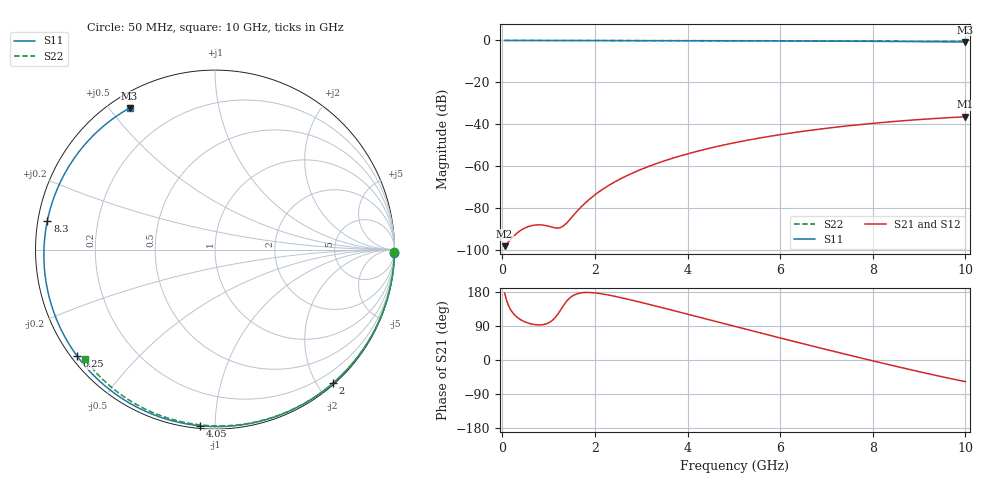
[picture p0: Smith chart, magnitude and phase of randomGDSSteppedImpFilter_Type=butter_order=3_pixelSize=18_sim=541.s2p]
! freq	dB(S11)	phase(S11)	dB(S12)	phase(S12)
!  dB(S21)	phase(S21)	dB(S22)	phase(S22)
!S-par simulation data
#  GHz  S  DB  R 50
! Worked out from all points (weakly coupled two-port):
!   200 points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, 50 MHz to 10 GHz, reference 50 ohm
!   highest |S21| = -36.49 dB at 10 GHz (marker M1); lowest = -98.3 dB at 50 MHz (marker M2)
!   lowest |S11| = -0.7 dB at 10 GHz (marker M3), VSWR 24.35, Z = 2.71 + j28.2 ohm
!   |S11| at or under -10 dB: nowhere
!   |S22| runs from -0.5 to 0.0 dB; largest |S21 - S12| = 0
!   S11 on the Smith chart (normalised r, x): 50 MHz: 0, -92; 2 GHz: 0.02, -2.22; 4.05 GHz: 0.01, -0.92; 6.25 GHz: 0.02, -0.34; 8.3 GHz: 0.03, +0.09; 10 GHz: 0.05, +0.56
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0.05  -0.00 -1.2  -98.32 177.1  -98.32 177.1  -0.00 -0.8
0.8  -0.02 -19.8  -88.13 92.6  -88.13 92.6  -0.02 -12.9
1.65  -0.05 -40.3  -80.78 175.9  -80.78 175.9  -0.03 -26.4
1.7  -0.05 -41.5  -79.63 177.1  -79.63 177.1  -0.03 -27.2
1.75  -0.05 -42.7  -78.53 177.9  -78.53 177.9  -0.04 -28.0
2  -0.06 -48.6  -73.77 177.0  -73.77 177.0  -0.04 -31.9
2.3  -0.07 -55.6  -69.27 171.2  -69.27 171.2  -0.05 -36.5
2.6  -0.08 -62.5  -65.61 163.5  -65.61 163.5  -0.05 -41.1
3  -0.09 -71.6  -61.61 151.9  -61.61 151.9  -0.06 -47.2
3.4  -0.11 -80.6  -58.29 139.7  -58.29 139.7  -0.07 -53.2
4.05  -0.13 -94.9  -53.90 119.4  -53.90 119.4  -0.09 -62.7
5.05  -0.18 -116.5  -48.73 87.9  -48.73 87.9  -0.12 -76.8
5.65  -0.21 -129.3  -46.28 69.1  -46.28 69.1  -0.14 -85.0
6.25  -0.26 -142.2  -44.19 50.5  -44.19 50.5  -0.17 -93.0
6.7  -0.30 -152.1  -42.82 36.7  -42.82 36.7  -0.19 -98.9
7.55  -0.38 -171.4  -40.61 11.1  -40.61 11.1  -0.24 -109.7
8.3  -0.47 170.2  -39.02 -11.0  -39.02 -11.0  -0.30 -119.1
8.35  -0.47 168.9  -38.92 -12.4  -38.92 -12.4  -0.31 -119.7
8.8  -0.53 157.0  -38.13 -25.2  -38.13 -25.2  -0.35 -125.2
9.2  -0.59 145.8  -37.50 -36.3  -37.50 -36.3  -0.38 -130.1
9.6  -0.65 133.8  -36.96 -47.0  -36.96 -47.0  -0.43 -135.0
10  -0.71 121.1  -36.49 -57.1  -36.49 -57.1  -0.47 -139.9
